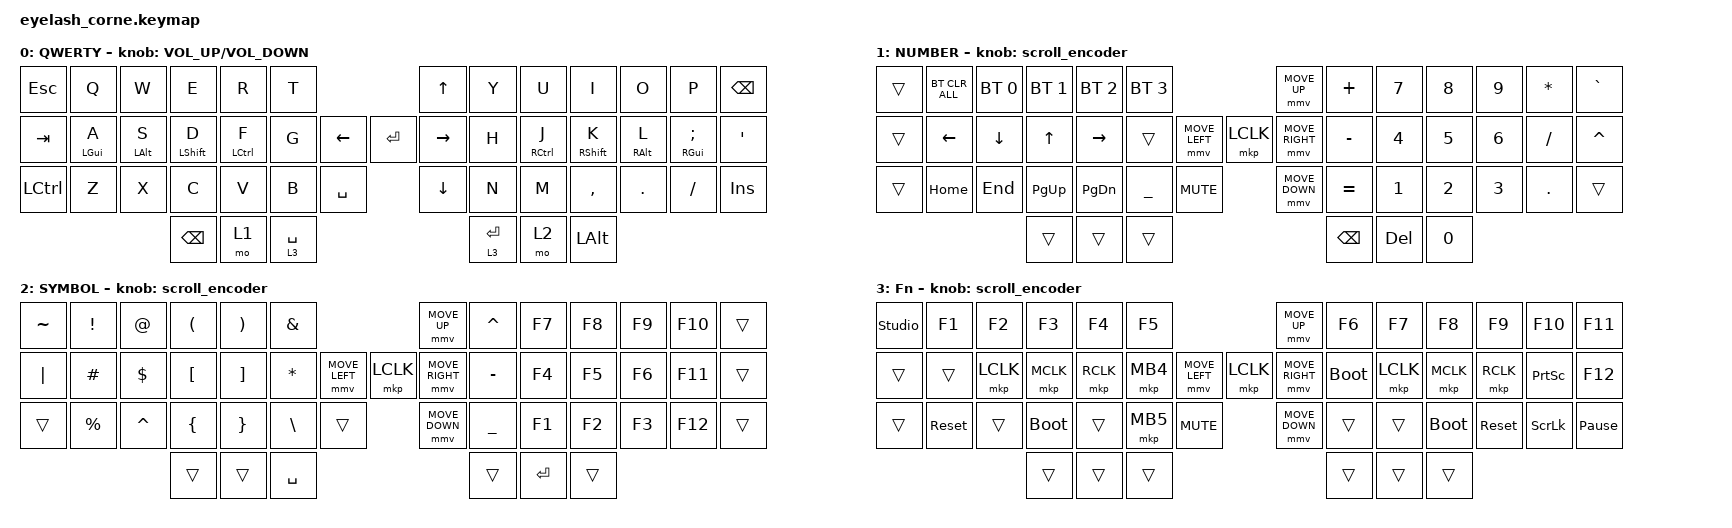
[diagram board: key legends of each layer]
#define ZMK_POINTING_DEFAULT_MOVE_VAL 1200  // 600
#define ZMK_POINTING_DEFAULT_SCRL_VAL 25   // 10

#include <input/processors.dtsi>
#include <zephyr/dt-bindings/input/input-event-codes.h>
#include <behaviors.dtsi>
#include <dt-bindings/zmk/bt.h>
#include <dt-bindings/zmk/keys.h>
#include <dt-bindings/zmk/outputs.h>
#include <dt-bindings/zmk/pointing.h>
#include <dt-bindings/zmk/rgb.h>

&mmv_input_listener { input-processors = <&zip_xy_scaler 2 1>; };

&msc_input_listener { input-processors = <&zip_scroll_scaler 2 1>; };

&msc {
    acceleration-exponent = <1>;      // 0
    time-to-max-speed-ms = <100>;       // 300
    delay-ms = <0>;                   // 0
};

&mmv {
    time-to-max-speed-ms = <500>;
    acceleration-exponent = <1>;
    trigger-period-ms = <16>;
};

/* Homerow mods */

/ {
    behaviors {
        td0: td0 {
            compatible = "zmk,behavior-tap-dance";
            display-name = "Shift/Caps Lock Tap Dance";
            #binding-cells = <0>;
            bindings = <&kp LEFT_SHIFT>, <&kp CAPS>;
        };

      lh_pht: home_row_left_mod_tap {
        compatible = "zmk,behavior-hold-tap";
        #binding-cells = <2>;
        flavor = "balanced";
        tapping-term-ms = <280>;
        quick-tap-ms = <175>;
        require-prior-idle-ms = <150>;
        hold-trigger-on-release;
        bindings = <&kp>, <&kp>;
        hold-trigger-key-positions = <7 8 9 10 11 12 22 23 24 25 26 27 35 36 37 38 39 40 41 42 43 44 45 46>;
      };

      rh_pht: home_row_right_mod_tap {
        compatible = "zmk,behavior-hold-tap";
        #binding-cells = <2>;
        flavor = "balanced";
        tapping-term-ms = <280>;
        quick-tap-ms = <175>;
        require-prior-idle-ms = <150>;
        hold-trigger-on-release;
        bindings = <&kp>, <&kp>;
        hold-trigger-key-positions = <0 1 2 3 4 5 13 14 15 16 17 18 28 29 30 31 32 33 41 42 43 44 45 46>;
      };
    };

    rgb_encoder: rgb_encoder {
        compatible = "zmk,behavior-sensor-rotate";
        #sensor-binding-cells = <0>;
        bindings = <&rgb_ug RGB_BRI>, <&rgb_ug RGB_BRD>;
    };

    scroll_encoder: scroll_encoder {
        compatible = "zmk,behavior-sensor-rotate";
        #sensor-binding-cells = <0>;
        bindings = <&msc SCRL_DOWN>, <&msc SCRL_UP>;

        tap-ms = <100>;
    };

    keymap {
        compatible = "zmk,keymap";

        default_layer {
            display-name = "QWERTY";
            bindings = <
&kp ESC    &kp Q  &kp W  &kp E     &kp R  &kp T                               &kp UP                &kp Y        &kp U  &kp I      &kp O    &kp P     &kp BSPC
&kp TAB       &lh_pht LGUI A     &lh_pht LALT S         &lh_pht LSHFT D         &lh_pht LCTRL F  &kp G                     &kp LEFT  &kp ENTER  &kp RIGHT  &kp H        &rh_pht RCTRL J      &rh_pht RSHIFT K     &rh_pht RALT L  &rh_pht RGUI SEMI  &kp SQT
&kp LCTRL  &kp Z  &kp X  &kp C     &kp V  &kp B        &kp SPACE              &kp DOWN              &kp N        &kp M  &kp COMMA  &kp DOT  &kp FSLH  &kp INS
                         &kp BSPC  &mo 1  &lt 3 SPACE                                               &lt 3 ENTER  &mo 2  &kp LALT
            >;

             sensor-bindings = <&inc_dec_kp C_VOLUME_UP C_VOLUME_DOWN>;
        };

        lower_layer {
            display-name = "NUMBER";
            bindings = <
&trans  &bt BT_CLR_ALL   &bt BT_SEL 0    &bt BT_SEL 1  &bt BT_SEL 2  &bt BT_SEL 3                                   &mmv MOVE_UP                     &kp PLUS          &kp N7           &kp N8           &kp N9        &kp ASTRK    &kp GRAVE
&trans  &kp LEFT         &kp DOWN        &kp UP        &kp RIGHT     &trans               &mmv MOVE_LEFT  &mkp LCLK       &mmv MOVE_RIGHT            &kp MINUS         &kp N4           &kp N5           &kp N6        &kp FSLH     &kp CARET 
&trans  &kp HOME         &kp END         &kp PG_UP     &kp PG_DN   &kp UNDER  &kp C_MUTE                    &mmv MOVE_DOWN                            &kp EQUAL         &kp N1           &kp N2           &kp N3        &kp DOT   &trans 
                                         &trans        &trans        &trans                                                                          &kp BSPC          &kp DEL          &kp N0
            >;

            sensor-bindings = <&scroll_encoder>;
        };

        raise_layer {
            display-name = "SYMBOL";
            bindings = <
&kp TILDE  &kp EXCL      &kp AT        &kp LPAR   &kp RPAR   &kp AMPS                            &mmv MOVE_UP                     &kp CARET  &kp F7   &kp F8   &kp F9  &kp F10  &trans
&kp PIPE  &kp HASH      &kp DLLR     &kp LBKT   &kp RBKT  &kp ASTRK             &mmv MOVE_LEFT  &mkp LCLK       &mmv MOVE_RIGHT   &kp MINUS  &kp F4   &kp F5   &kp F6  &kp F11  &trans
&trans  &kp PRCNT     &kp CARET    &kp LBRC   &kp RBRC      &kp BSLH   &trans                    &mmv MOVE_DOWN                   &kp UNDER  &kp F1   &kp F2   &kp F3  &kp F12  &trans
                                    &trans     &trans     &kp SPACE                                                             &trans    &kp RET     &trans
            >;

            sensor-bindings = <&scroll_encoder>;
        };

        layer_3 {
            display-name = "Fn";
            bindings = <
&studio_unlock  &kp F1      &kp F2     &kp F3       &kp F4     &kp F5                                  &mmv MOVE_UP                     &kp F6       &kp F7     &kp F8       &kp F9      &kp F10          &kp F11
&trans          &trans      &mkp LCLK  &mkp MCLK    &mkp RCLK  &mkp MB4                &mmv MOVE_LEFT  &mkp LCLK       &mmv MOVE_RIGHT  &bootloader  &mkp LCLK  &mkp MCLK    &mkp RCLK   &kp PRINTSCREEN  &kp F12
&trans          &sys_reset  &trans     &bootloader  &trans     &mkp MB5  &kp C_MUTE                    &mmv MOVE_DOWN                   &trans       &trans     &bootloader  &sys_reset  &kp SCROLLLOCK   &kp PAUSE_BREAK
                                       &trans       &trans     &trans                                                                   &trans       &trans     &trans
            >;

            sensor-bindings = <&scroll_encoder>;
        };
    };
};
